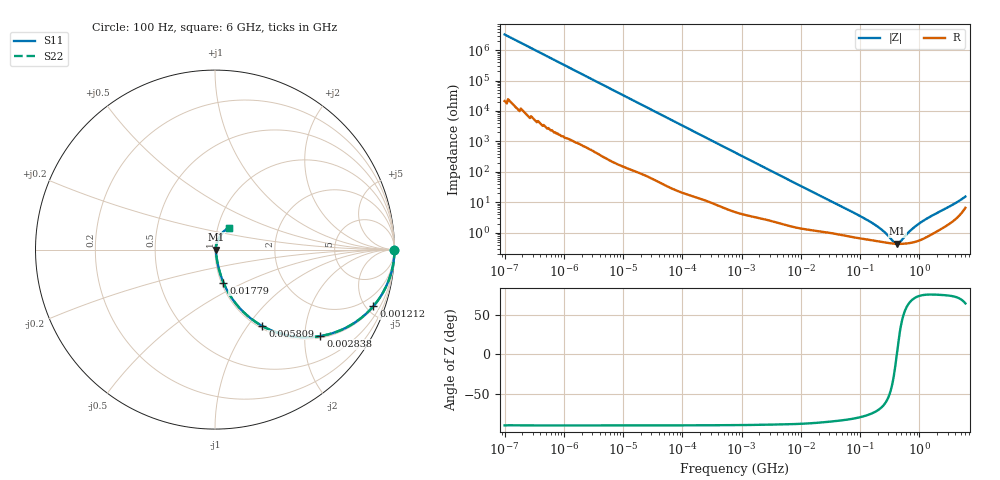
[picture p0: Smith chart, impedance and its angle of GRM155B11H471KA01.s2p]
!Murata Part Number: GRM155B11H471KA01
!These Parameters are Measured in Series Mode Connection
!Data Generated on Mar 30, 2021
!  o--ll--o
!Port1  Port2
!  o------o
!Operation Temp=25[degC], DC Bias Voltage=0[V]
!Freq. Start=100[Hz] Stop=6[GHz] 401[Steps]
# Hz S RI R 50
!Freq.(Hz) S11(Real) S11(Imag) S21(Real) S21(Imag) S12(Real) S12(Imag) S22(Real) S22(Imag)
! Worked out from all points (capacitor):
!   401 points, 100 Hz to 6 GHz, reference 50 ohm
!   read as one part in series: C = 487 pF near 109 Hz
!   lowest |Z| = 435 mohm at 427.4 MHz (marker M1)
!   series resonance near 416.8 MHz, so ESL is about 300 pH
!   S11 on the Smith chart (normalised r, x): 100 Hz: open; 1.212 MHz: 1.08, -5.56; 2.838 MHz: 1.05, -2.39; 5.809 MHz: 1.04, -1.18; 17.79 MHz: 1.02, -0.39; 6 GHz: 1.13, +0.28
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100  1 -3.06e-05  2e-07 3.06e-05  2e-07 3.06e-05  1 -3.06e-05
335  1 -0.000102  5e-07 0.000102  5e-07 0.000102  1 -0.000102
2008  1 -0.00061  3.2e-06 0.00061  3.2e-06 0.00061  1 -0.00061
40335  0.9998 -0.0121  0.000215 0.0121  0.000215 0.0121  0.9998 -0.0121
241822  0.9942 -0.0719  0.0058 0.0719  0.0058 0.0719  0.9942 -0.0719
774597  0.9475 -0.2176  0.0525 0.2176  0.0525 0.2176  0.9475 -0.2176
1212075  0.8822 -0.3157  0.1178 0.3157  0.1178 0.3157  0.8822 -0.3157
2837864  0.5868 -0.4817  0.4132 0.4817  0.4132 0.4817  0.5868 -0.4817
5809218  0.264 -0.4261  0.736 0.4261  0.736 0.4261  0.264 -0.4261
9090158  0.1345 -0.3227  0.8655 0.3227  0.8655 0.3227  0.1345 -0.3227
1.555665e7  0.0575 -0.2071  0.9425 0.2071  0.9425 0.2071  0.0575 -0.2071
1.779312e7  0.0469 -0.1836  0.9531 0.1836  0.9531 0.1836  0.0469 -0.1836
4.35672e7  0.0151 -0.0793  0.9849 0.0793  0.9849 0.0793  0.0151 -0.0793
1.395531e8  0.00645 -0.0238  0.9935 0.0238  0.9935 0.0238  0.00645 -0.0238
2.183701e8  0.00527 -0.0128  0.9947 0.0128  0.9947 0.0128  0.00527 -0.0128
3.124326e8  0.00459 -0.00559  0.9954 0.00559  0.9954 0.00559  0.00459 -0.00559
3.737127e8  0.00438 -0.00211  0.9956 0.00211  0.9956 0.00211  0.00438 -0.00211
4.274388e8  0.00431 0.000497  0.9957 -0.000497  0.9957 -0.000497  0.00431 0.000497
4.888888e8  0.00432 0.00313  0.9957 -0.00313  0.9957 -0.00313  0.00432 0.00313
7.31507e8  0.00482 0.0116  0.9952 -0.0116  0.9952 -0.0116  0.00482 0.0116
1.094528e9  0.00644 0.0219  0.9936 -0.0219  0.9936 -0.0219  0.00644 0.0219
6e9  0.0783 0.1209  0.9217 -0.1209  0.9217 -0.1209  0.0783 0.1209
